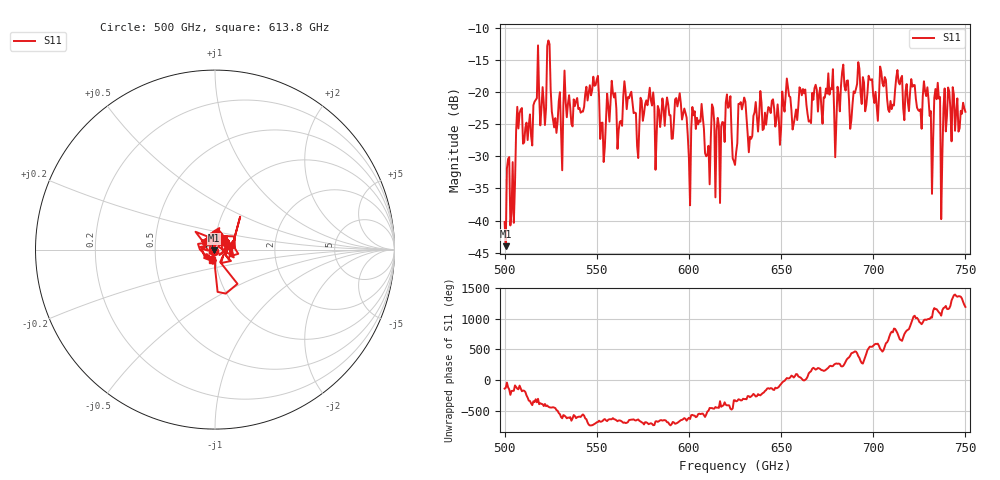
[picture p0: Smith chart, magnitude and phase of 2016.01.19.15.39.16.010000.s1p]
!Created with skrf (http://scikit-rf.org).
# GHz S RI R 50.0
!freq ReS11 ImS11
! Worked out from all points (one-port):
!   401 points, 500 GHz to 750 GHz, reference 50 ohm
!   lowest |S11| = -44.0 dB at 500.6 GHz (marker M1), VSWR 1.01, Z = 49.6 - j0.494 ohm
!   |S11| at or under -10 dB: start of sweep to end of sweep
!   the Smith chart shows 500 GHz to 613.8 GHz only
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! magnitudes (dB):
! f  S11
! 500 GHz  -40.2
! 500.6 GHz  -44.0
! 504.4 GHz  -30.9
! 508.1 GHz  -23.3
! 513.8 GHz  -23.5
! 523.8 GHz  -12.0
! 526.9 GHz  -25.5
! 531.2 GHz  -32.2
! 549.4 GHz  -18.9
! 553.1 GHz  -24.7
! 558.8 GHz  -20.1
! 562.5 GHz  -24.6
! 565.6 GHz  -20.0
! 593.8 GHz  -22.2
! 610 GHz  -29.8
! 621.2 GHz  -22.5
! 625 GHz  -31.3
! 628.8 GHz  -22.7
! 633.1 GHz  -26.9
! 656.2 GHz  -25.8
! 687.5 GHz  -25.7
! 718.8 GHz  -21.5
! 728.8 GHz  -20.6
! 731.2 GHz  -23.0
! 735 GHz  -18.5
! 738.1 GHz  -22.5
! 740 GHz  -23.8
! 750 GHz  -23.1
